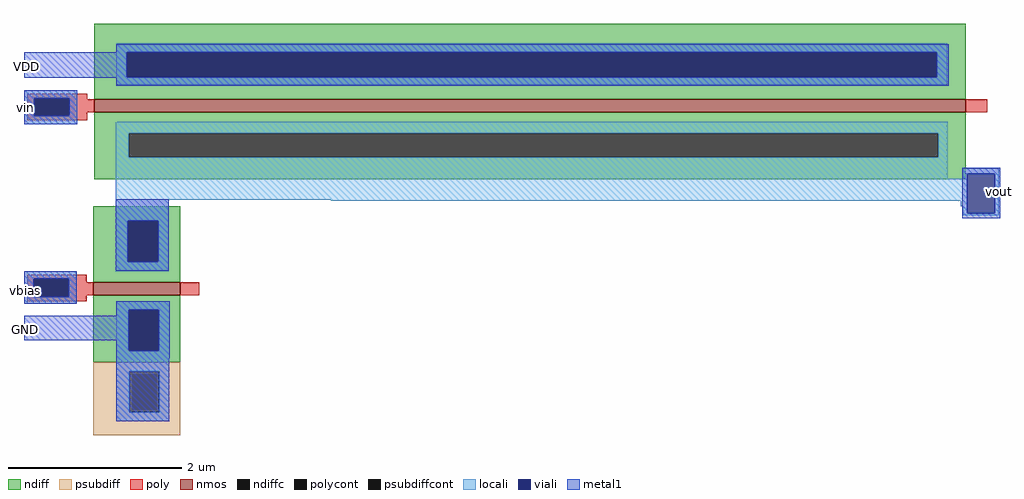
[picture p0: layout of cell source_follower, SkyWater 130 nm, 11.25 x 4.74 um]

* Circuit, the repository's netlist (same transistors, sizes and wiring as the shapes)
* NGSPICE file created from source_follower.ext - technology: sky130A

.subckt source_follower VDD vin vout vbias GND
X0 vout vbias GND GND sky130_fd_pr__nfet_01v8 ad=0.875 pd=3.75 as=0.775 ps=3.55 w=1 l=0.15
X1 VDD vin vout GND sky130_fd_pr__nfet_01v8 ad=8.7348 pd=21.82 as=7.7308 ps=21.62 w=10.04 l=0.15
.ends

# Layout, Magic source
magic
tech sky130A
magscale 1 2
<< nmos >>
rect -9 3 1999 33
rect -11 -418 189 -388
<< ndiff >>
rect -9 141 1999 207
rect -9 85 66 141
rect 1932 85 1999 141
rect -9 33 1999 85
rect -9 -45 1999 3
rect -9 -101 70 -45
rect 1936 -101 1999 -45
rect -9 -151 1999 -101
rect -11 -247 189 -213
rect -11 -341 68 -247
rect 138 -341 189 -247
rect -11 -388 189 -341
rect -11 -452 189 -418
rect -11 -546 70 -452
rect 140 -546 189 -452
rect -11 -573 189 -546
<< ndiffc >>
rect 66 85 1932 141
rect 70 -101 1936 -45
rect 68 -341 138 -247
rect 70 -546 140 -452
<< psubdiff >>
rect -11 -594 189 -573
rect -11 -688 71 -594
rect 141 -688 189 -594
rect -11 -741 189 -688
<< psubdiffcont >>
rect 71 -688 141 -594
<< poly >>
rect -163 36 -25 46
rect -163 -5 -147 36
rect -67 33 -25 36
rect -67 3 -9 33
rect 1999 3 2049 33
rect -67 -5 -25 3
rect -163 -15 -25 -5
rect -164 -381 -26 -371
rect -164 -422 -148 -381
rect -68 -388 -26 -381
rect -68 -418 -11 -388
rect 189 -418 233 -388
rect -68 -422 -26 -418
rect -164 -432 -26 -422
<< polycont >>
rect -147 -5 -67 36
rect -148 -422 -68 -381
<< locali >>
rect 42 141 1956 162
rect 42 84 66 141
rect 1932 84 1956 141
rect 42 66 1956 84
rect -170 36 -48 54
rect -170 -5 -147 36
rect -67 -5 -48 36
rect -170 -24 -48 -5
rect 44 -21 1958 -19
rect 40 -45 1958 -21
rect 40 -101 70 -45
rect 1936 -101 1958 -45
rect 40 -150 1958 -101
rect 1992 -139 2075 -126
rect 1992 -150 2002 -139
rect 40 -199 2002 -150
rect 40 -247 162 -199
rect 537 -201 2002 -199
rect 1987 -214 2002 -201
rect 1992 -229 2002 -214
rect 2066 -229 2075 -139
rect 1992 -234 2075 -229
rect 40 -341 68 -247
rect 138 -341 162 -247
rect 40 -363 162 -341
rect -171 -381 -49 -363
rect -171 -422 -148 -381
rect -68 -422 -49 -381
rect -171 -438 -49 -422
rect 42 -452 165 -432
rect 42 -546 70 -452
rect 140 -546 165 -452
rect 42 -564 165 -546
rect 42 -594 164 -564
rect 42 -688 71 -594
rect 141 -688 164 -594
rect 42 -709 164 -688
<< viali >>
rect 66 85 1932 141
rect 66 84 1932 85
rect -147 -5 -67 36
rect 2002 -229 2066 -139
rect 68 -341 138 -247
rect -148 -422 -68 -381
rect 70 -546 140 -452
<< metal1 >>
rect 42 141 1960 160
rect -170 84 66 141
rect 1932 84 1960 141
rect -170 83 1960 84
rect 42 64 1960 83
rect -170 36 -48 54
rect -170 -5 -147 36
rect -67 -5 -48 36
rect -170 -24 -48 -5
rect 1991 -139 2078 -125
rect 40 -247 162 -197
rect 1991 -229 2002 -139
rect 2066 -229 2078 -139
rect 1991 -241 2078 -229
rect 40 -341 68 -247
rect 138 -341 162 -247
rect 40 -362 162 -341
rect -171 -381 -49 -363
rect -171 -422 -148 -381
rect -68 -422 -49 -381
rect -171 -438 -49 -422
rect 42 -452 165 -432
rect 42 -466 70 -452
rect -170 -522 70 -466
rect 42 -546 70 -522
rect 140 -546 165 -452
rect 42 -564 165 -546
rect 42 -709 164 -564
<< labels >>
rlabel metal1 2077 -179 2077 -179 7 vout
port 1 w
rlabel metal1 -167 -498 -167 -498 3 GND
port 2 e
rlabel metal1 -168 -408 -168 -408 3 vbias
port 3 e
rlabel metal1 -168 13 -168 13 3 vin
port 4 e
rlabel metal1 -166 109 -166 109 3 VDD
port 5 e
<< end >>
